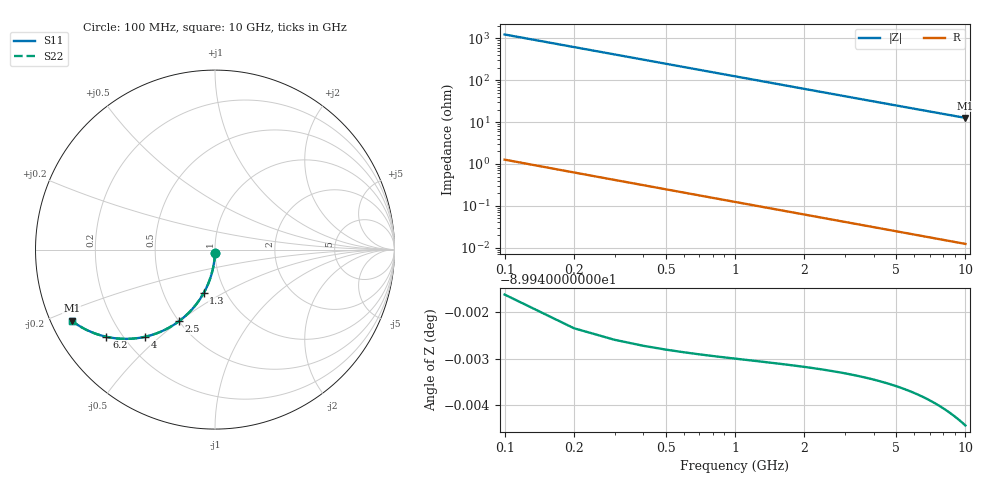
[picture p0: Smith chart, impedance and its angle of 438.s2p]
# Hz S RI R 50.00
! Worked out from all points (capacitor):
!   100 points, 100 MHz to 10 GHz, reference 50 ohm
!   read as one part in shunt: C = 1.28 pF near 100 MHz
!   lowest |Z| = 12.7 ohm at 10 GHz (marker M1)
!   S11 on the Smith chart (normalised r, x): 100 MHz: 1.00, -0.04; 1.3 GHz: 0.79, -0.41; 2.5 GHz: 0.50, -0.50; 4 GHz: 0.28, -0.45; 6.2 GHz: 0.14, -0.35; 10 GHz: 0.06, -0.23
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1e8  -0.00041 -0.02  0.9996 -0.0201  0.9996 -0.0201  -0.00041 -0.02
2e8  -0.00164 -0.04  0.9983 -0.0401  0.9983 -0.0401  -0.00164 -0.04
3e8  -0.00366 -0.0599  0.9963 -0.0601  0.9963 -0.0601  -0.00366 -0.0599
4e8  -0.00647 -0.0796  0.9935 -0.0799  0.9935 -0.0799  -0.00647 -0.0796
5e8  -0.01 -0.0991  0.9899 -0.0995  0.9899 -0.0995  -0.01 -0.0991
6e8  -0.0144 -0.1184  0.9856 -0.1189  0.9856 -0.1189  -0.0144 -0.1184
8e8  -0.0252 -0.1561  0.9747 -0.1567  0.9747 -0.1567  -0.0252 -0.1561
1e9  -0.0388 -0.1923  0.9611 -0.1932  0.9611 -0.1932  -0.0388 -0.1923
1.3e9  -0.0638 -0.2435  0.9361 -0.2445  0.9361 -0.2445  -0.0638 -0.2435
1.5e9  -0.0832 -0.275  0.9168 -0.2763  0.9168 -0.2763  -0.0832 -0.275
1.8e9  -0.1154 -0.3183  0.8845 -0.3198  0.8845 -0.3198  -0.1154 -0.3183
2.1e9  -0.1507 -0.3564  0.8493 -0.3581  0.8493 -0.3581  -0.1507 -0.3564
2.5e9  -0.2008 -0.399  0.7992 -0.4011  0.7992 -0.4011  -0.2008 -0.399
2.9e9  -0.2524 -0.4327  0.7476 -0.4351  0.7476 -0.4351  -0.2524 -0.4327
3.4e9  -0.3167 -0.4633  0.6833 -0.4661  0.6833 -0.4661  -0.3167 -0.4633
4e9  -0.3904 -0.4857  0.6096 -0.489  0.6096 -0.489  -0.3904 -0.4857
5.1e9  -0.5094 -0.4973  0.4905 -0.5015  0.4905 -0.5015  -0.5094 -0.4973
6.2e9  -0.6049 -0.4858  0.395 -0.491  0.395 -0.491  -0.6049 -0.4858
6.7e9  -0.6411 -0.4764  0.3588 -0.482  0.3588 -0.482  -0.6411 -0.4764
7.5e9  -0.6909 -0.4585  0.309 -0.4648  0.309 -0.4648  -0.6909 -0.4585
8.4e9  -0.7368 -0.4363  0.2631 -0.4434  0.2631 -0.4434  -0.7368 -0.4363
1e10  -0.7984 -0.3964  0.2015 -0.4049  0.2015 -0.4049  -0.7984 -0.3964
